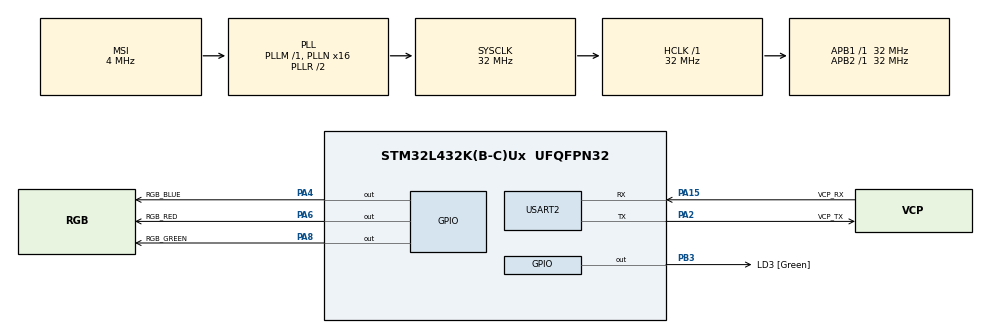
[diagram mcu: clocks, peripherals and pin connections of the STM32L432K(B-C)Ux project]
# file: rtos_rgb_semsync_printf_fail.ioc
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FREERTOS.BinarySemaphores01=myBinarySem,Dynamic,NULL
FREERTOS.Tasks01=blink_red,24,128,led_blink_red,Default,NULL,Dynamic,NULL,NULL;blink_green,24,128,led_blink_green,Default,NULL,Dynamic,NULL,NULL;blink_blue,24,128,led_blink_blue,Default,NULL,Dynamic,NULL,NULL
FREERTOS.configENABLE_FPU=1
FREERTOS.configUSE_NEWLIB_REENTRANT=1
Mcu.Family=STM32L4
Mcu.Name=STM32L432K(B-C)Ux
Mcu.Package=UFQFPN32
NVIC.PriorityGroup=NVIC_PRIORITYGROUP_4
NVIC.TIM6_DAC_IRQn=true\:15\:0\:false\:false\:true\:false\:false\:true
NVIC.TimeBase=TIM6_DAC_IRQn
NVIC.TimeBaseIP=TIM6
NVIC.USART2_IRQn=true\:5\:0\:false\:false\:true\:true\:true\:true
PA0.GPIO_Label=MCO [High speed clock in]
PA0.Mode=HSE-External-Clock-Source-for-LittleOrca
PA0.Signal=RCC_CK_IN
PA13\ (JTMS-SWDIO).GPIO_Label=SWDIO
PA13\ (JTMS-SWDIO).Signal=SYS_JTMS-SWDIO
PA14\ (JTCK-SWCLK).GPIO_Label=SWCLK
PA14\ (JTCK-SWCLK).Signal=SYS_JTCK-SWCLK
PA15\ (JTDI).GPIO_Label=VCP_RX
PA15\ (JTDI).Mode=Asynchronous
PA15\ (JTDI).Signal=USART2_RX
PA2.GPIO_Label=VCP_TX
PA2.Mode=Asynchronous
PA2.Signal=USART2_TX
PA4.GPIO_Label=RGB_BLUE
PA4.Signal=GPIO_Output
PA6.GPIO_Label=RGB_RED
PA6.Signal=GPIO_Output
PA8.GPIO_Label=RGB_GREEN
PA8.Signal=GPIO_Output
PB3\ (JTDO-TRACESWO).GPIO_Label=LD3 [Green]
PB3\ (JTDO-TRACESWO).Signal=GPIO_Output
PC14-OSC32_IN\ (PC14).Mode=LSE-External-Oscillator
PC14-OSC32_IN\ (PC14).Signal=RCC_OSC32_IN
PC15-OSC32_OUT\ (PC15).Mode=LSE-External-Oscillator
PC15-OSC32_OUT\ (PC15).Signal=RCC_OSC32_OUT
ProjectManager.HeapSize=0x200
ProjectManager.StackSize=0x400
ProjectManager.TargetToolchain=STM32CubeIDE
RCC.AHBFreq_Value=32000000
RCC.APB1Freq_Value=32000000
RCC.APB1TimFreq_Value=32000000
RCC.APB2Freq_Value=32000000
RCC.APB2TimFreq_Value=32000000
RCC.CortexFreq_Value=32000000
RCC.HCLKFreq_Value=32000000
RCC.HSE_VALUE=8000000
RCC.HSI16_VALUE=16000000
RCC.HSI48_VALUE=48000000
RCC.HSI_VALUE=16000000
RCC.MSI_VALUE=4000000
RCC.PLLMUL=RCC_PLLMUL_4
RCC.PLLN=16
RCC.SYSCLKFreq_VALUE=32000000
RCC.SYSCLKSource=RCC_SYSCLKSOURCE_PLLCLK
RCC.VCOOutputFreq_Value=64000000
USART2.VirtualMode-Asynchronous=VM_ASYNC
VP_FREERTOS_VS_CMSIS_V2.Mode=CMSIS_V2
VP_SYS_VS_tim6.Mode=TIM6
board=NUCLEO-L432KC

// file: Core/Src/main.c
/* USER CODE BEGIN Header */
/**
  ******************************************************************************
  * @file           : main.c
  * @brief          : Main program body
  ******************************************************************************
  * @attention
  *
  * Copyright (c) 2022 STMicroelectronics.
  * All rights reserved.
  *
  * This software is licensed under terms that can be found in the LICENSE file
  * in the root directory of this software component.
  * If no LICENSE file comes with this software, it is provided AS-IS.
  *
  ******************************************************************************
  */
/* USER CODE END Header */
#include "main.h"
#include "cmsis_os.h"

/* USER CODE BEGIN Includes */
#include "stdio.h"

/* USER CODE END Includes */

UART_HandleTypeDef huart2;

/* Definitions for blink_red */
osThreadId_t blink_redHandle;
const osThreadAttr_t blink_red_attributes = {
  .name = "blink_red",
  .stack_size = 128 * 4,
  .priority = (osPriority_t) osPriorityNormal,
};
/* Definitions for blink_green */
osThreadId_t blink_greenHandle;
const osThreadAttr_t blink_green_attributes = {
  .name = "blink_green",
  .stack_size = 128 * 4,
  .priority = (osPriority_t) osPriorityNormal,
};
/* Definitions for blink_blue */
osThreadId_t blink_blueHandle;
const osThreadAttr_t blink_blue_attributes = {
  .name = "blink_blue",
  .stack_size = 128 * 4,
  .priority = (osPriority_t) osPriorityNormal,
};
/* Definitions for myBinarySem */
osSemaphoreId_t myBinarySemHandle;
const osSemaphoreAttr_t myBinarySem_attributes = {
  .name = "myBinarySem"
};
/* USER CODE BEGIN PV */
int current_led = 0; // 0 = red, 1 = green, 2 = blue

/* USER CODE END PV */

void SystemClock_Config(void);
static void MX_GPIO_Init(void);
static void MX_USART2_UART_Init(void);
void led_blink_red(void *argument);
void led_blink_green(void *argument);
void led_blink_blue(void *argument);

/* USER CODE BEGIN PFP */
void switch_color(char*, int, GPIO_TypeDef*, uint16_t);

/* USER CODE END PFP */

/* USER CODE BEGIN 0 */

/* Print given character on UART 2. Translate '\n' to "\r\n" on the fly. */
int __io_putchar(int ch) {
  int ret;
  while ((ret=HAL_UART_GetState(&huart2)) != HAL_UART_STATE_READY)
    ;

  if (ch == '\n') {
    static uint8_t buf[2] = {'\r', '\n'};
    HAL_UART_Transmit_IT(&huart2, buf, sizeof(buf));
  } else {
    static char buf;
    buf = ch;
    HAL_UART_Transmit_IT(&huart2, (uint8_t *)&buf, 1);
  }
  return ch;
}

int _write(int file, char *ptr, int len) {
  for (int DataIdx = 0; DataIdx < len; DataIdx++) {
    __io_putchar(*ptr++);
  }
  return len;
}

/* USER CODE END 0 */

int main(void)
{

  /* MCU Configuration--------------------------------------------------------*/

  /* Reset of all peripherals, Initializes the Flash interface and the Systick. */
  HAL_Init();

  /* Configure the system clock */
  SystemClock_Config();

  /* Initialize all configured peripherals */
  MX_GPIO_Init();
  MX_USART2_UART_Init();
  /* USER CODE BEGIN 2 */
  HAL_GPIO_TogglePin(GPIOA, RGB_BLUE_Pin|RGB_RED_Pin|RGB_GREEN_Pin);

  printf("\n\nDas Programm wird gestartet\n\n");

  /* USER CODE END 2 */

  /* Init scheduler */
  osKernelInitialize();

  /* Create the semaphores(s) */
  /* creation of myBinarySem */
  myBinarySemHandle = osSemaphoreNew(1, 1, &myBinarySem_attributes);

  /* Create the thread(s) */
  /* creation of blink_red */
  blink_redHandle = osThreadNew(led_blink_red, NULL, &blink_red_attributes);

  /* creation of blink_green */
  blink_greenHandle = osThreadNew(led_blink_green, NULL, &blink_green_attributes);

  /* creation of blink_blue */
  blink_blueHandle = osThreadNew(led_blink_blue, NULL, &blink_blue_attributes);

  /* Start scheduler */
  osKernelStart();

  /* We should never get here as control is now taken by the scheduler */
  /* Infinite loop */
  while (1)
  {

  }
}

void SystemClock_Config(void)
{
  RCC_OscInitTypeDef RCC_OscInitStruct = {0};
  RCC_ClkInitTypeDef RCC_ClkInitStruct = {0};

  /** Configure the main internal regulator output voltage
  */
  if (HAL_PWREx_ControlVoltageScaling(PWR_REGULATOR_VOLTAGE_SCALE1) != HAL_OK)
  {
    Error_Handler();
  }
  /** Configure LSE Drive Capability
  */
  HAL_PWR_EnableBkUpAccess();
  __HAL_RCC_LSEDRIVE_CONFIG(RCC_LSEDRIVE_LOW);
  /** Initializes the RCC Oscillators according to the specified parameters
  * in the RCC_OscInitTypeDef structure.
  */
  RCC_OscInitStruct.OscillatorType = RCC_OSCILLATORTYPE_LSE|RCC_OSCILLATORTYPE_MSI;
  RCC_OscInitStruct.LSEState = RCC_LSE_ON;
  RCC_OscInitStruct.MSIState = RCC_MSI_ON;
  RCC_OscInitStruct.MSICalibrationValue = 0;
  RCC_OscInitStruct.MSIClockRange = RCC_MSIRANGE_6;
  RCC_OscInitStruct.PLL.PLLState = RCC_PLL_ON;
  RCC_OscInitStruct.PLL.PLLSource = RCC_PLLSOURCE_MSI;
  RCC_OscInitStruct.PLL.PLLM = 1;
  RCC_OscInitStruct.PLL.PLLN = 16;
  RCC_OscInitStruct.PLL.PLLP = RCC_PLLP_DIV7;
  RCC_OscInitStruct.PLL.PLLQ = RCC_PLLQ_DIV2;
  RCC_OscInitStruct.PLL.PLLR = RCC_PLLR_DIV2;
  if (HAL_RCC_OscConfig(&RCC_OscInitStruct) != HAL_OK)
  {
    Error_Handler();
  }
  /** Initializes the CPU, AHB and APB buses clocks
  */
  RCC_ClkInitStruct.ClockType = RCC_CLOCKTYPE_HCLK|RCC_CLOCKTYPE_SYSCLK
                              |RCC_CLOCKTYPE_PCLK1|RCC_CLOCKTYPE_PCLK2;
  RCC_ClkInitStruct.SYSCLKSource = RCC_SYSCLKSOURCE_PLLCLK;
  RCC_ClkInitStruct.AHBCLKDivider = RCC_SYSCLK_DIV1;
  RCC_ClkInitStruct.APB1CLKDivider = RCC_HCLK_DIV1;
  RCC_ClkInitStruct.APB2CLKDivider = RCC_HCLK_DIV1;

  if (HAL_RCC_ClockConfig(&RCC_ClkInitStruct, FLASH_LATENCY_1) != HAL_OK)
  {
    Error_Handler();
  }
  /** Enable MSI Auto calibration
  */
  HAL_RCCEx_EnableMSIPLLMode();
}

static void MX_USART2_UART_Init(void)
{

  huart2.Instance = USART2;
  huart2.Init.BaudRate = 115200;
  huart2.Init.WordLength = UART_WORDLENGTH_8B;
  huart2.Init.StopBits = UART_STOPBITS_1;
  huart2.Init.Parity = UART_PARITY_NONE;
  huart2.Init.Mode = UART_MODE_TX_RX;
  huart2.Init.HwFlowCtl = UART_HWCONTROL_NONE;
  huart2.Init.OverSampling = UART_OVERSAMPLING_16;
  huart2.Init.OneBitSampling = UART_ONE_BIT_SAMPLE_DISABLE;
  huart2.AdvancedInit.AdvFeatureInit = UART_ADVFEATURE_NO_INIT;
  if (HAL_UART_Init(&huart2) != HAL_OK)
  {
    Error_Handler();
  }

}

static void MX_GPIO_Init(void)
{
  GPIO_InitTypeDef GPIO_InitStruct = {0};

  /* GPIO Ports Clock Enable */
  __HAL_RCC_GPIOC_CLK_ENABLE();
  __HAL_RCC_GPIOA_CLK_ENABLE();
  __HAL_RCC_GPIOB_CLK_ENABLE();

  /*Configure GPIO pin Output Level */
  HAL_GPIO_WritePin(GPIOA, RGB_BLUE_Pin|RGB_RED_Pin|RGB_GREEN_Pin, GPIO_PIN_RESET);

  /*Configure GPIO pin Output Level */
  HAL_GPIO_WritePin(LD3_GPIO_Port, LD3_Pin, GPIO_PIN_RESET);

  /*Configure GPIO pins : RGB_BLUE_Pin RGB_RED_Pin RGB_GREEN_Pin */
  GPIO_InitStruct.Pin = RGB_BLUE_Pin|RGB_RED_Pin|RGB_GREEN_Pin;
  GPIO_InitStruct.Mode = GPIO_MODE_OUTPUT_PP;
  GPIO_InitStruct.Pull = GPIO_NOPULL;
  GPIO_InitStruct.Speed = GPIO_SPEED_FREQ_LOW;
  HAL_GPIO_Init(GPIOA, &GPIO_InitStruct);

  /*Configure GPIO pin : LD3_Pin */
  GPIO_InitStruct.Pin = LD3_Pin;
  GPIO_InitStruct.Mode = GPIO_MODE_OUTPUT_PP;
  GPIO_InitStruct.Pull = GPIO_NOPULL;
  GPIO_InitStruct.Speed = GPIO_SPEED_FREQ_LOW;
  HAL_GPIO_Init(LD3_GPIO_Port, &GPIO_InitStruct);

}

/* USER CODE BEGIN 4 */
void switch_color(char* color, int led, GPIO_TypeDef* GPIO_Port, uint16_t GPIO_Pin) {
  /* Infinite loop */
  for(;;)
  {
    osStatus_t status = osSemaphoreAcquire(myBinarySemHandle, osWaitForever);
    if (status != osOK) {
      // Konnte den Semaphor nicht acquiren, es gab irgendein Problem :(
      continue; // brich hier ab und fang die for-Schleife nochmal von vorne an
    }
    // Der Semaphor wurde ab hier erfolgreich acquired -> wir befinden uns im "kritischen Code"

    if (current_led != led) {
      // Es soll eine andere LED leuchten :( Deshalb brechen wir ab, aber geben vorher noch den Semaphor wieder frei
      printf("Es laeuft der Task fuer Farbe %s aber die Farbe %d ist jetzt dran\n", color, current_led);
      osSemaphoreRelease(myBinarySemHandle);
      osDelay(1);
      continue; // brich hier ab und fang die for-Schleife nochmal von vorne an
    }

    // Es läuft der Task mit der gewünschten Farbe, also drehen wir diese Farbe auf
    printf("Nun kommt die Farbe %s\n", color);
    HAL_GPIO_TogglePin(GPIO_Port, GPIO_Pin); // Schalte LED ein
    osDelay(1000); // Warte x ticks
    HAL_GPIO_TogglePin(GPIO_Port, GPIO_Pin); // Schalte LED wieder aus

    // Nun wechseln wir zu nächsten Farbe
    if(current_led == 2) {
      current_led = 0; // Nach blau soll wieder die rote LED leuchten
    } else {
      current_led++; // Die nächste Farbe kommt dran (nach rot -> grün, nach grün -> blau) (in ihrem jeweiligen Task)
    }

    // Fertig, jetzt nur noch Semaphor freigeben und das wars
    // Mit dem releasen werden alle Tasks, welche auf den Semaphore warten, notified
    // Der erste Task der osSemaphoreAcquire aufgerufen hat kommt zuerst dran (FIFO)
    printf("Farbe %s fertig\n\n", color);
    osSemaphoreRelease(myBinarySemHandle);
    osDelay(1);
  }
}

/* USER CODE END 4 */

void led_blink_red(void *argument)
{
  /* USER CODE BEGIN 5 */
  switch_color("red", 0, RGB_RED_GPIO_Port, RGB_RED_Pin);
  /* USER CODE END 5 */
}

void led_blink_green(void *argument)
{
  /* USER CODE BEGIN led_blink_green */
  switch_color("green", 1, RGB_GREEN_GPIO_Port, RGB_GREEN_Pin);
  /* USER CODE END led_blink_green */
}

void led_blink_blue(void *argument)
{
  /* USER CODE BEGIN led_blink_blue */
  switch_color("blue", 2, RGB_BLUE_GPIO_Port, RGB_BLUE_Pin);
  /* USER CODE END led_blink_blue */
}

void HAL_TIM_PeriodElapsedCallback(TIM_HandleTypeDef *htim)
{
  if (htim->Instance == TIM6) {
    HAL_IncTick();
  }
}

void Error_Handler(void)
{
  __disable_irq();
  while (1)
  {
  }
}
